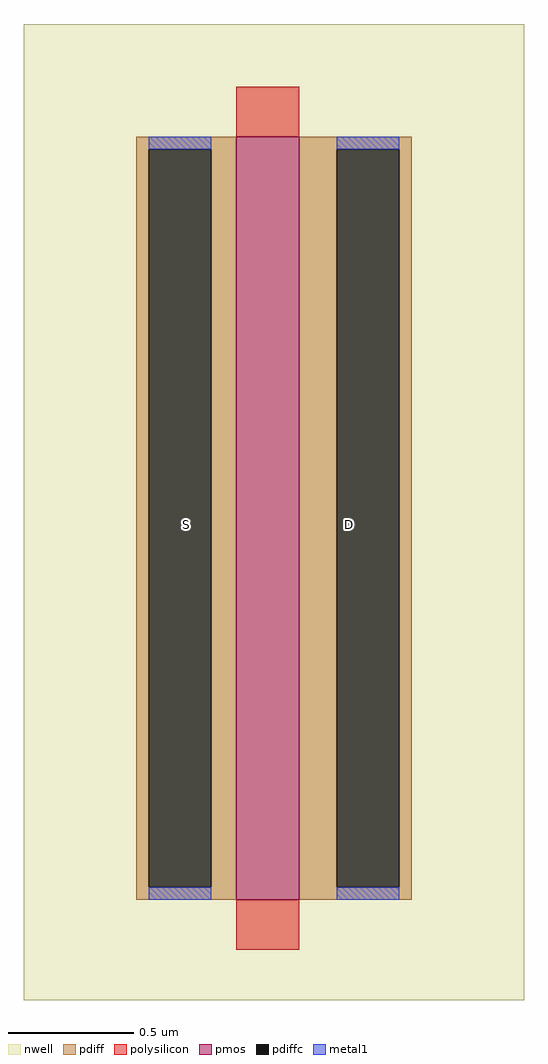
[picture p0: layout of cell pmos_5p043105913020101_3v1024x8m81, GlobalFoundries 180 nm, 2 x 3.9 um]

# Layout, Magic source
magic
tech gf180mcuD
<< nwell >>
rect -17 -8 23 70
<< pmos >>
rect 0 0 5 61
<< pdiff >>
rect -8 60 0 61
rect -8 1 -7 60
rect -2 1 0 60
rect -8 0 0 1
rect 5 60 14 61
rect 5 1 8 60
rect 13 1 14 60
rect 5 0 14 1
<< pdiffc >>
rect -7 1 -2 60
rect 8 1 13 60
<< polysilicon >>
rect 0 61 5 65
rect 0 -4 5 0
<< metal1 >>
rect -7 60 -2 61
rect -7 0 -2 1
rect 8 60 13 61
rect 8 0 13 1
<< labels >>
flabel pdiffc -4 30 -4 30 0 FreeSans 18 0 0 0 S
flabel pdiffc 9 30 9 30 0 FreeSans 18 0 0 0 D
<< end >>
